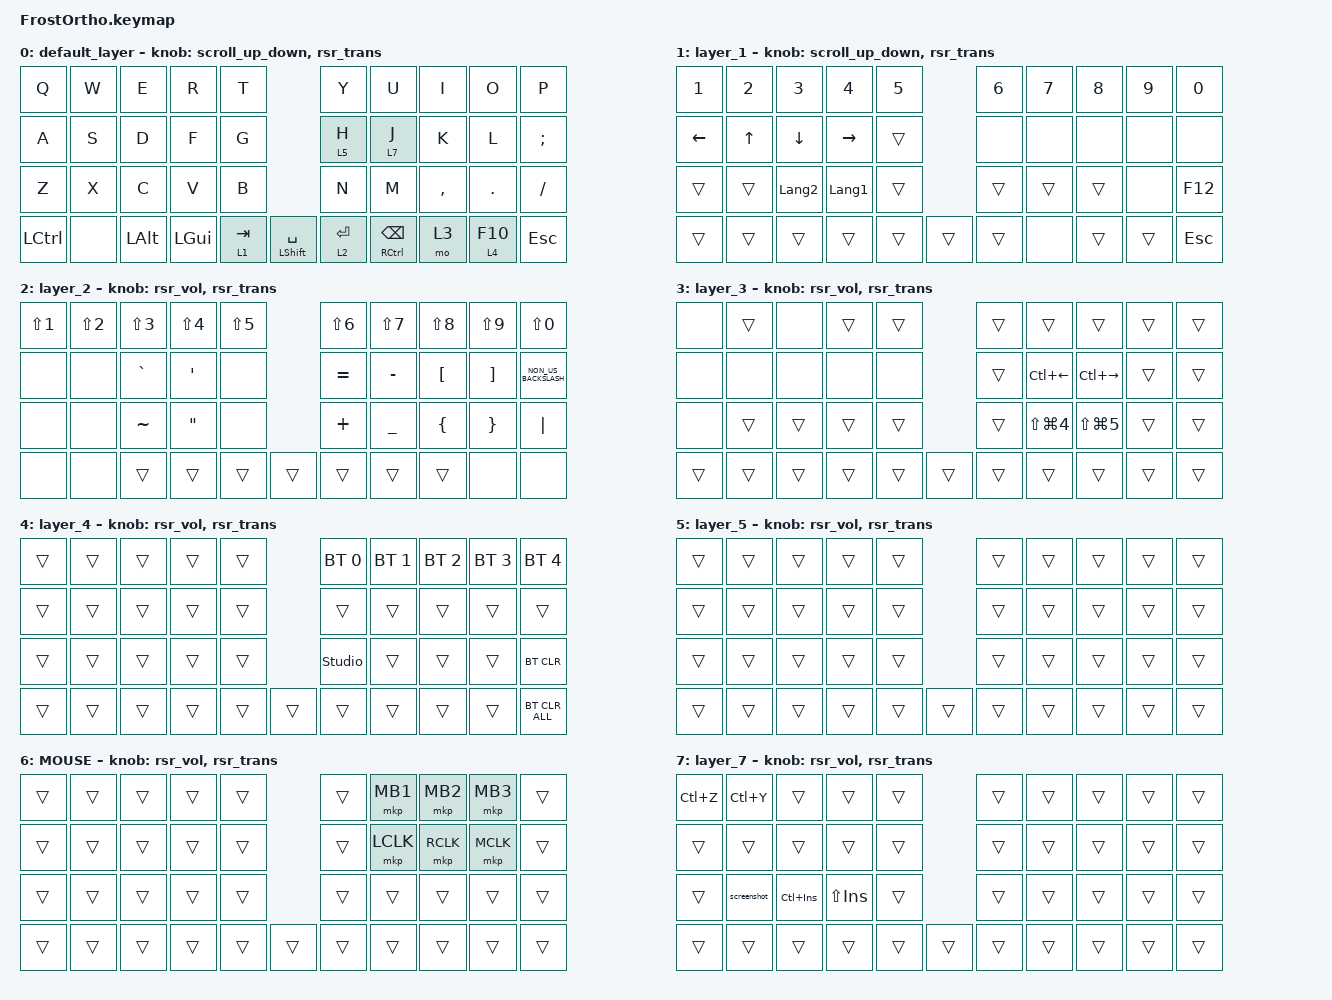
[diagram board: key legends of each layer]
#include <input/processors.dtsi>
#include <behaviors/runtime-sensor-rotate.dtsi>
#include <behaviors/runtime-sensor-rotate.dtsi>
#include <behaviors.dtsi>
#include <dt-bindings/zmk/bt.h>
#include <dt-bindings/zmk/keys.h>
#include <dt-bindings/zmk/pointing.h>

#define MOUSE 6

&mt {
    flavor = "balanced";
    quick-tap-ms = <0>;
};

// AML クリックしたときにタイムアウトを延長

&mkp_input_listener { input-processors = <&zip_temp_layer 6 10000>; };

/ {
    combos { compatible = "zmk,combos"; };

    macros {
        to_layer_0: to_layer_0 {
            compatible = "zmk,behavior-macro-one-param";
            #binding-cells = <1>;
            bindings = <&to 0 &macro_param_1to1 &kp MACRO_PLACEHOLDER>;
            label = "TO_LAYER_0";
        };

        screenshot: screenshot {
            compatible = "zmk,behavior-macro";
            #binding-cells = <0>;
            bindings =
                <&to 7>,
                <&macro_press>,
                <&kp LEFT_WIN &kp LEFT_SHIFT &kp S>,
                <&macro_release>,
                <&kp LEFT_WIN &kp LEFT_SHIFT &kp S>;

            label = "SCREENSHOT";
        };
    };

    behaviors {
        lt_to_layer_0: lt_to_layer_0 {
            compatible = "zmk,behavior-hold-tap";
            label = "LAYER_TAP_TO_0";
            bindings = <&mo>, <&to_layer_0>;

            #binding-cells = <2>;
            tapping-term-ms = <300>;
        };

        // Kyemap Editor用

        scroll_up_down: behavior_sensor_rotate_mouse_wheel_up_down {
            compatible = "zmk,behavior-sensor-rotate";
            #sensor-binding-cells = <0>;
            tap-ms = <20>;
            bindings = <&msc SCRL_UP>, <&msc SCRL_DOWN>;
        };

        vol_up_down: vol_up_down {
            compatible = "zmk,behavior-sensor-rotate";
            #sensor-binding-cells = <0>;
            tap-ms = <5>;
            bindings = <&kp C_VOL_DN>, <&kp C_VOL_UP>;
        };

        // DYA Studio用

        rsr_vol: rsr_vol {
            compatible = "zmk,behavior-runtime-sensor-rotate";
            #sensor-binding-cells = <0>;
            tap-ms = <5>;
            cw-binding = <&kp C_VOL_DN>;
            ccw-binding = <&kp C_VOL_UP>;
        };
    };

    keymap {
        compatible = "zmk,keymap";

        default_layer {
            bindings = <
&kp Q      &kp W  &kp E         &kp R     &kp T                            &kp Y        &kp U                        &kp I      &kp O       &kp P
&kp A      &kp S  &kp D         &kp F     &kp G                            &lt 5 H      &lt 7 J                      &kp K      &kp L       &kp SEMICOLON
&kp Z      &kp X  &kp C         &kp V     &kp B                            &kp N        &kp M                        &kp COMMA  &kp PERIOD  &kp SLASH
&kp LCTRL  &none  &kp LEFT_ALT  &kp LGUI  &lt 1 TAB  &mt LSHIFT SPACE      &lt 2 ENTER  &mt RIGHT_CONTROL BACKSPACE  &mo 3      &lt 4 F10   &kp ESCAPE
            >;

            sensor-bindings = <&scroll_up_down>, <&rsr_trans>;
        };

        layer_1 {
            bindings = <
&kp NUMBER_1  &kp NUMBER_2  &kp NUMBER_3    &kp NUMBER_4    &kp N5              &kp N6  &kp N7  &kp N8  &kp N9  &kp N0
&kp LEFT      &kp UP_ARROW  &kp DOWN        &kp RIGHT       &trans              &none   &none   &none   &none   &none
&trans        &trans        &kp LANGUAGE_2  &kp LANGUAGE_1  &trans              &trans  &trans  &trans  &none   &kp F12
&trans        &trans        &trans          &trans          &trans  &trans      &trans  &none   &trans  &trans  &kp ESCAPE
            >;

            sensor-bindings = <&scroll_up_down>, <&rsr_trans>;
        };

        layer_2 {
            bindings = <
&kp LS(NUMBER_1)  &kp LS(NUMBER_2)  &kp LS(NUMBER_3)  &kp LS(NUMBER_4)   &kp LS(N5)              &kp LS(NUMBER_6)  &kp LS(N7)      &kp LS(N8)        &kp LS(N9)         &kp LS(N0)
&none             &none             &kp GRAVE         &kp SQT            &none                   &kp EQUAL         &kp MINUS       &kp LEFT_BRACKET  &kp RIGHT_BRACKET  &kp NON_US_BACKSLASH
&none             &none             &kp TILDE         &kp DOUBLE_QUOTES  &none                   &kp PLUS          &kp UNDERSCORE  &kp LEFT_BRACE    &kp RIGHT_BRACE    &kp PIPE
&none             &none             &trans            &trans             &trans      &trans      &trans            &trans          &trans            &none              &none
            >;

            sensor-bindings = <&rsr_vol &rsr_trans>;
        };

        layer_3 {
            bindings = <
&none   &trans  &none   &trans  &trans              &trans  &trans                &trans          &trans  &trans
&none   &none   &none   &none   &none               &trans  &kp LC(LEFT)          &kp LC(RIGHT)   &trans  &trans
&none   &trans  &trans  &trans  &trans              &trans  &kp LS(LG(NUMBER_4))  &kp LS(LG(N5))  &trans  &trans
&trans  &trans  &trans  &trans  &trans  &trans      &trans  &trans                &trans          &trans  &trans
            >;

            sensor-bindings = <&rsr_vol &rsr_trans>;
        };

        layer_4 {
            bindings = <
&trans  &trans  &trans  &trans  &trans              &bt BT_SEL 0    &bt BT_SEL 1  &bt BT_SEL 2  &bt BT_SEL 3  &bt BT_SEL 4
&trans  &trans  &trans  &trans  &trans              &trans          &trans        &trans        &trans        &trans
&trans  &trans  &trans  &trans  &trans              &studio_unlock  &trans        &trans        &trans        &bt BT_CLR
&trans  &trans  &trans  &trans  &trans  &trans      &trans          &trans        &trans        &trans        &bt BT_CLR_ALL
            >;

            sensor-bindings = <&rsr_vol &rsr_trans>;
        };

        layer_5 {
            bindings = <
&trans  &trans  &trans  &trans  &trans              &trans  &trans  &trans  &trans  &trans
&trans  &trans  &trans  &trans  &trans              &trans  &trans  &trans  &trans  &trans
&trans  &trans  &trans  &trans  &trans              &trans  &trans  &trans  &trans  &trans
&trans  &trans  &trans  &trans  &trans  &trans      &trans  &trans  &trans  &trans  &trans
            >;

            sensor-bindings = <&rsr_vol &rsr_trans>;
        };

        MOUSE {
            bindings = <
&trans  &trans  &trans  &trans  &trans              &trans  &mkp MB1   &mkp MB2   &mkp MB3   &trans
&trans  &trans  &trans  &trans  &trans              &trans  &mkp LCLK  &mkp RCLK  &mkp MCLK  &trans
&trans  &trans  &trans  &trans  &trans              &trans  &trans     &trans     &trans     &trans
&trans  &trans  &trans  &trans  &trans  &trans      &trans  &trans     &trans     &trans     &trans
            >;

            sensor-bindings = <&rsr_vol &rsr_trans>;
        };

        layer_7 {
            bindings = <
&kp LC(Z)  &kp LC(Y)    &trans       &trans       &trans              &trans  &trans  &trans  &trans  &trans
&trans     &trans       &trans       &trans       &trans              &trans  &trans  &trans  &trans  &trans
&trans     &screenshot  &kp LC(INS)  &kp LS(INS)  &trans              &trans  &trans  &trans  &trans  &trans
&trans     &trans       &trans       &trans       &trans  &trans      &trans  &trans  &trans  &trans  &trans
            >;

            sensor-bindings = <&rsr_vol &rsr_trans>;
        };
    };
};
